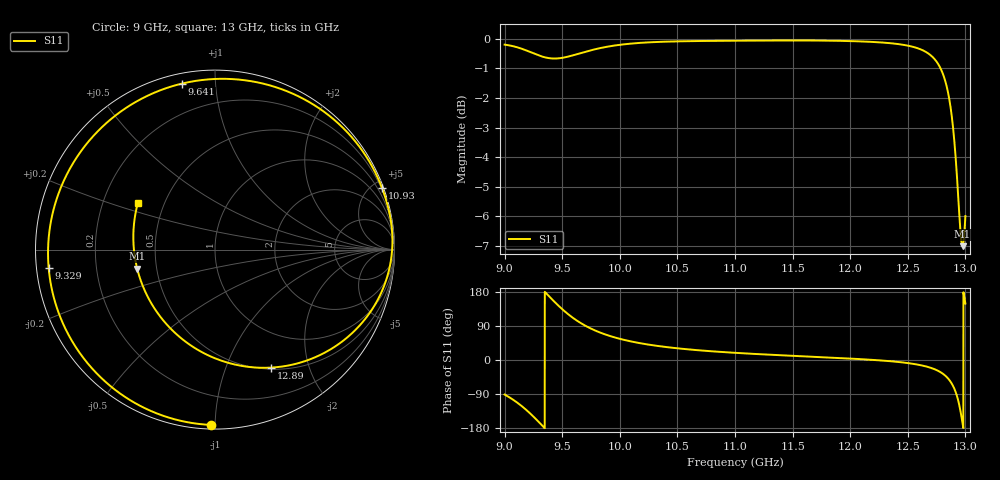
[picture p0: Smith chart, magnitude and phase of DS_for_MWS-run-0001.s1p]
! TOUCHSTONE file generated by CST DESIGN STUDIO
! Date and time: Tue Feb  4 17:22:43 2025
! Project name: C:\Work\MatlabApps\UnitCellOptimizationMatlab\CST\unitcell.cst
! Tree item: Tasks\Sweep1\SPara1\S-Parameters
! Header version: 2024
! Port assignment regex: !\s*Touchstone port\s*([0-9]+)\s*=\s*(CST MWS port|CST DES external port|CST DES block port)\s*(.+)\s* \(\"(.*)\"\)(\s*mode\s*([0-9]+))?.*
! Touchstone port assignment:
! Touchstone port 1 = CST DES external port 1 ("")
# GHz S MA R 50
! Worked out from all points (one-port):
!   4001 points, 9 GHz to 13 GHz, reference 50 ohm
!   lowest |S11| = -7.0 dB at 12.97 GHz (marker M1), VSWR 2.61, Z = 19.4 - j5.11 ohm
!   |S11| at or under -10 dB: nowhere
!   S11 on the Smith chart (normalised r, x): 9 GHz: 0.02, -0.98; 9.329 GHz: 0.04, -0.05; 9.641 GHz: 0.05, +0.82; 10.93 GHz: 0.13, +5.60; 12.89 GHz: 0.52, -1.45; 13 GHz: 0.35, +0.24
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9  0.977 -91.2
9.089  0.9694 -108.0
9.167  0.9587 -126.2
9.257  0.9433 -151.4
9.329  0.9323 -173.8
9.408  0.926 161.2
9.5  0.9281 134.2
9.568  0.9344 116.9
9.641  0.943 101.3
9.717  0.9522 87.8
9.811  0.9622 74.6
10  0.9764 55.9
10.216  0.9849 42.2
10.5  0.9896 30.9
10.931  0.9919 20.2
11  0.9921 18.9
11.5  0.993 11.1
12  0.9906 3.8
12.5  0.9732 -8.1
12.659  0.9492 -17.0
12.76  0.9084 -28.1
12.831  0.8403 -42.9
12.886  0.7279 -64.6
12.911  0.6465 -80.9
12.933  0.56 -101.5
12.953  0.4847 -127.9
12.975  0.4463 -166.3
13  0.5017 149.0
